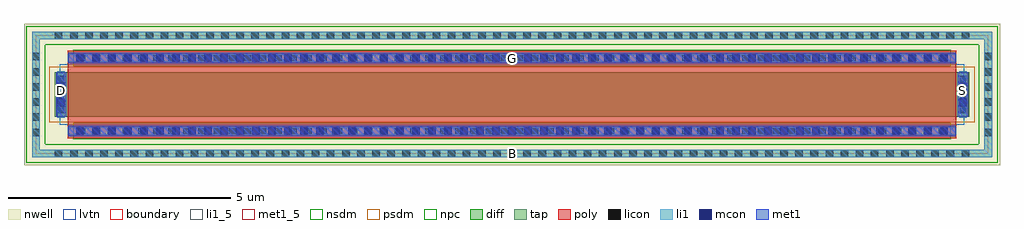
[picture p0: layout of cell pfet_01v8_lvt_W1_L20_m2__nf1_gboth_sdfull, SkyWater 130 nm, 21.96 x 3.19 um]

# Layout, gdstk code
import gdstk
lib = gdstk.Library(unit=1e-6, precision=1e-09)
def R(c, l, rs):  # rectangles x0, y0, x1, y1
    for r in rs: c.add(gdstk.rectangle(r[:2], r[2:], *l))
def A(c, l, x, y, w, h, nx, ny, dx, dy):  # array of equal rectangles
    R(c, l, [(x+i*dx, y+j*dy, x+i*dx+w, y+j*dy+h) for i in range(nx) for j in range(ny)])
nwell = (64, 20)
diff = (65, 20)
tap = (65, 44)
poly = (66, 20)
licon = (66, 44)
li1_5 = (67, 5)
li1 = (67, 20)
mcon = (67, 44)
met1_5 = (68, 5)
met1 = (68, 20)
nsdm = (93, 44)
psdm = (94, 20)
npc = (95, 20)
lvtn = (125, 44)
boundary = (235, 4)

sky130_fd_pr__pfet_01v8_ = lib.new_cell('sky130_fd_pr__pfet_01v8_lvt_4AALW2')
R(sky130_fd_pr__pfet_01v8_, nwell, [(-10.98,-1.595,10.98,1.595)])
R(sky130_fd_pr__pfet_01v8_, diff, [(-10.29,-0.5,10.29,0.5)])
R(sky130_fd_pr__pfet_01v8_, tap, [(-10.8,-1.415,10.8,-1.245), (-10.8,-1.245,-10.63,1.245), (10.63,-1.245,10.8,1.245), (-10.8,1.245,10.8,1.415)])
R(sky130_fd_pr__pfet_01v8_, poly, [(-10,-0.985,10,0.985)])
A(sky130_fd_pr__pfet_01v8_, licon, -10.285, -1.415, 0.17, 0.17, 61, 2, 0.34, 2.66)
A(sky130_fd_pr__pfet_01v8_, licon, -10.8, -0.935, 0.17, 0.17, 1, 6, 0, 0.34)
A(sky130_fd_pr__pfet_01v8_, licon, 10.63, -0.935, 0.17, 0.17, 1, 6, 0, 0.34)
A(sky130_fd_pr__pfet_01v8_, licon, -9.775, -0.905, 0.17, 0.17, 58, 2, 0.34, 1.64)
A(sky130_fd_pr__pfet_01v8_, licon, -10.23, -0.425, 0.17, 0.17, 1, 3, 0, 0.34)
A(sky130_fd_pr__pfet_01v8_, licon, 10.06, -0.425, 0.17, 0.17, 1, 3, 0, 0.34)
R(sky130_fd_pr__pfet_01v8_, li1, [(-10.8,-1.415,10.8,-1.245), (-10.8,-1.245,-10.63,1.245), (10.63,-1.245,10.8,1.245), (-10,-0.905,10,-0.735), (-10.23,-0.52,-10.06,0.52), (10.06,-0.52,10.23,0.52), (-10,0.735,10,0.905), (-10.8,1.245,10.8,1.415)])
A(sky130_fd_pr__pfet_01v8_, mcon, -9.805, -0.905, 0.17, 0.17, 55, 2, 0.36, 1.64)
R(sky130_fd_pr__pfet_01v8_, mcon, [(-10.23,-0.265,-10.06,-0.095), (10.06,-0.265,10.23,-0.095), (-10.23,0.095,-10.06,0.265), (10.06,0.095,10.23,0.265)])
R(sky130_fd_pr__pfet_01v8_, met1, [(-9.98,-0.935,9.98,-0.705), (-10.26,-0.5,-10.03,0.5), (10.03,-0.5,10.26,0.5), (-9.98,0.705,9.98,0.935)])
R(sky130_fd_pr__pfet_01v8_, nsdm, [(-10.925,-1.54,10.925,-1.12), (-10.925,-1.12,-10.505,1.12), (10.505,-1.12,10.925,1.12), (-10.925,1.12,10.925,1.54)])
R(sky130_fd_pr__pfet_01v8_, psdm, [(-10.415,-0.625,10.415,0.625)])
R(sky130_fd_pr__pfet_01v8_, npc, [(-9.875,-1.005,9.875,-0.635), (-9.875,0.635,9.875,1.005)])
R(sky130_fd_pr__pfet_01v8_, lvtn, [(-10.18,-0.68,10.18,0.68)])
R(sky130_fd_pr__pfet_01v8_, boundary, [(-10.715,-1.33,10.715,1.33)])
sky130_fd_pr__pfet_01v8_.add(gdstk.Label('B', (0,-1.33), layer=67, texttype=5))
sky130_fd_pr__pfet_01v8_.add(gdstk.Label('D', (-10.145,0), layer=67, texttype=5))
sky130_fd_pr__pfet_01v8_.add(gdstk.Label('S', (10.145,0), layer=67, texttype=5))
sky130_fd_pr__pfet_01v8_.add(gdstk.Label('G', (0,0.82), layer=67, texttype=5))

pfet_01v8_lvt_w1_l20_m2_ = lib.new_cell('pfet_01v8_lvt_W1_L20_m2__nf1_gboth_sdfull')
R(pfet_01v8_lvt_w1_l20_m2_, li1_5, [(10.63,-0.085,10.8,0.085)])
R(pfet_01v8_lvt_w1_l20_m2_, li1, [(10.63,-0.085,10.8,0.085)])
R(pfet_01v8_lvt_w1_l20_m2_, met1_5, [(0.455,1.33,0.685,1.53), (20.745,1.33,20.975,1.53), (0.735,2.035,20.695,2.265)])
R(pfet_01v8_lvt_w1_l20_m2_, met1, [(0.455,1.33,0.685,1.53), (20.745,1.33,20.975,1.53), (0.735,2.035,20.695,2.265)])
pfet_01v8_lvt_w1_l20_m2_.add(gdstk.Reference(sky130_fd_pr__pfet_01v8_, (10.715,1.33)))
pfet_01v8_lvt_w1_l20_m2_.add(gdstk.Label('D', (0.57,1.43), layer=68, texttype=5))
pfet_01v8_lvt_w1_l20_m2_.add(gdstk.Label('S', (20.86,1.43), layer=68, texttype=5))
pfet_01v8_lvt_w1_l20_m2_.add(gdstk.Label('G', (10.715,2.15), layer=68, texttype=5))
pfet_01v8_lvt_w1_l20_m2_.add(gdstk.Label('B', (10.715,0), layer=67, texttype=5))

lib.write_gds('pfet_01v8_lvt_W1_L20_m2__nf1_gboth_sdfull.gds')
